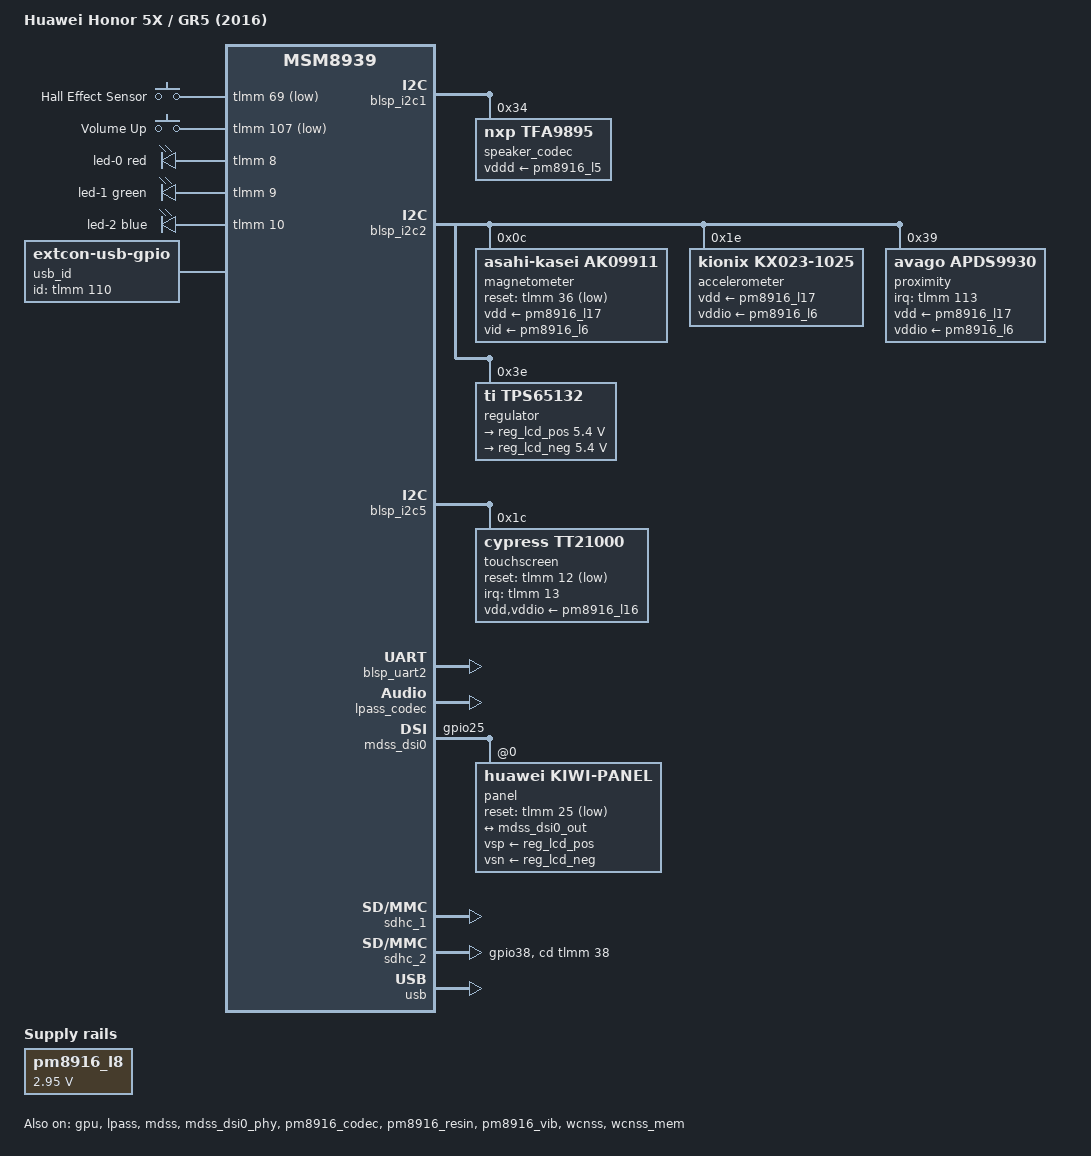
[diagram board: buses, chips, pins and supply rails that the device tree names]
// SPDX-License-Identifier: GPL-2.0-only

/dts-v1/;

#include "msm8939-pm8916.dtsi"
#include <dt-bindings/gpio/gpio.h>
#include <dt-bindings/leds/common.h>
#include <dt-bindings/sound/apq8016-lpass.h>

/ {
	model = "Huawei Honor 5X / GR5 (2016)";
	compatible = "huawei,kiwi", "qcom,msm8939";
	chassis-type = "handset";

	aliases {
		mmc0 = &sdhc_1; /* SDC1 eMMC slot */
		mmc1 = &sdhc_2; /* SDC2 SD card slot */
		serial0 = &blsp_uart2;
	};

	chosen {
		stdout-path = "serial0";
	};

	reserved-memory {
		qseecom_mem: qseecom@84a00000 {
			reg = <0x0 0x84a00000 0x0 0x1600000>;
			no-map;
		};
	};

	gpio-hall-sensor {
		compatible = "gpio-keys";

		pinctrl-0 = <&gpio_hall_sensor_default>;
		pinctrl-names = "default";

		label = "GPIO Hall Effect Sensor";

		event-hall-sensor {
			label = "Hall Effect Sensor";
			gpios = <&tlmm 69 GPIO_ACTIVE_LOW>;
			linux,input-type = <EV_SW>;
			linux,code = <SW_LID>;
			linux,can-disable;
		};
	};

	gpio-keys {
		compatible = "gpio-keys";

		pinctrl-0 = <&gpio_keys_default>;
		pinctrl-names = "default";

		label = "GPIO Buttons";

		button-volume-up {
			label = "Volume Up";
			gpios = <&tlmm 107 GPIO_ACTIVE_LOW>;
			linux,code = <KEY_VOLUMEUP>;
		};
	};

	gpio-leds {
		compatible = "gpio-leds";

		pinctrl-0 = <&gpio_leds_default>;
		pinctrl-names = "default";

		led-0 {
			gpios = <&tlmm 8 GPIO_ACTIVE_HIGH>;
			color = <LED_COLOR_ID_RED>;
			default-state = "off";
			function = LED_FUNCTION_INDICATOR;
			retain-state-suspended;
		};

		led-1 {
			gpios = <&tlmm 9 GPIO_ACTIVE_HIGH>;
			color = <LED_COLOR_ID_GREEN>;
			default-state = "off";
			function = LED_FUNCTION_INDICATOR;
			retain-state-suspended;
		};

		led-2 {
			gpios = <&tlmm 10 GPIO_ACTIVE_HIGH>;
			color = <LED_COLOR_ID_BLUE>;
			default-state = "off";
			function = LED_FUNCTION_INDICATOR;
			retain-state-suspended;
		};
	};

	usb_id: usb-id {
		compatible = "linux,extcon-usb-gpio";
		id-gpios = <&tlmm 110 GPIO_ACTIVE_HIGH>;
		pinctrl-0 = <&usb_id_default>;
		pinctrl-names = "default";
	};
};

&blsp_i2c1 {
	status = "okay";

	speaker_codec: audio-codec@34 {
		compatible = "nxp,tfa9895";
		reg = <0x34>;
		vddd-supply = <&pm8916_l5>;
		#sound-dai-cells = <0>;
	};
};

&blsp_i2c2 {
	status = "okay";

	magnetometer@c {
		compatible = "asahi-kasei,ak09911";
		reg = <0x0c>;
		vdd-supply = <&pm8916_l17>;
		vid-supply = <&pm8916_l6>;
		reset-gpios = <&tlmm 36 GPIO_ACTIVE_LOW>;
		pinctrl-0 = <&mag_reset_default>;
		pinctrl-names = "default";
	};

	accelerometer@1e {
		compatible = "kionix,kx023-1025";
		reg = <0x1e>;

		vdd-supply = <&pm8916_l17>;
		vddio-supply = <&pm8916_l6>;
		pinctrl-0 = <&accel_int_default>;
		pinctrl-names = "default";
		mount-matrix = "-1", "0", "0",
			       "0", "1", "0",
			       "0", "0", "1";
	};

	proximity@39 {
		compatible = "avago,apds9930";
		reg = <0x39>;

		interrupt-parent = <&tlmm>;
		interrupts = <113 IRQ_TYPE_EDGE_FALLING>;

		vdd-supply = <&pm8916_l17>;
		vddio-supply = <&pm8916_l6>;

		led-max-microamp = <25000>;
		amstaos,proximity-diodes = <0>;

		pinctrl-0 = <&prox_irq_default>;
		pinctrl-names = "default";
	};

	regulator@3e {
		compatible = "ti,tps65132";
		reg = <0x3e>;

		pinctrl-0 = <&reg_lcd_en_default>;
		pinctrl-names = "default";

		reg_lcd_pos: outp {
			regulator-name = "outp";
			regulator-min-microvolt = <5400000>;
			regulator-max-microvolt = <5400000>;
			enable-gpios = <&tlmm 97 GPIO_ACTIVE_HIGH>;
			regulator-active-discharge = <1>;
		};

		reg_lcd_neg: outn {
			regulator-name = "outn";
			regulator-min-microvolt = <5400000>;
			regulator-max-microvolt = <5400000>;
			enable-gpios = <&tlmm 32 GPIO_ACTIVE_HIGH>;
			regulator-active-discharge = <1>;
		};
	};
};

&blsp_i2c5 {
	status = "okay";

	touchscreen@1c {
		compatible = "cypress,tt21000";

		reg = <0x1c>;
		interrupt-parent = <&tlmm>;
		interrupts = <13 IRQ_TYPE_EDGE_FALLING>;

		reset-gpios = <&tlmm 12 GPIO_ACTIVE_LOW>;

		/*
		 * NOTE: vdd is not directly supplied by pm8916_l16, it seems to be a
		 * fixed regulator that is automatically enabled by pm8916_l16.
		 */
		vdd-supply = <&pm8916_l16>;
		vddio-supply = <&pm8916_l16>;

		pinctrl-0 = <&touchscreen_default>;
		pinctrl-names = "default";
	};
};

&blsp_uart2 {
	status = "okay";
};

&gpu {
	status = "okay";
};

&lpass {
	status = "okay";
};

&lpass_codec {
	status = "okay";
};

&mdss {
	status = "okay";
};

&mdss_dsi0 {
	pinctrl-0 = <&mdss_default>;
	pinctrl-1 = <&mdss_sleep>;
	pinctrl-names = "default", "sleep";
	status = "okay";

	panel@0 {
		compatible = "huawei,kiwi-panel";
		reg = <0>;

		vsp-supply = <&reg_lcd_pos>;
		vsn-supply = <&reg_lcd_neg>;
		reset-gpios = <&tlmm 25 GPIO_ACTIVE_LOW>;

		port {
			panel_in: endpoint {
				remote-endpoint = <&mdss_dsi0_out>;
			};
		};
	};
};

&mdss_dsi0_out {
	data-lanes = <0 1 2 3>;
	remote-endpoint = <&panel_in>;
};

&mdss_dsi0_phy {
	qcom,dsi-phy-regulator-ldo-mode;
	status = "okay";
};

&pm8916_codec {
	qcom,micbias-lvl = <2800>;
	qcom,mbhc-vthreshold-low = <75 150 237 450 500>;
	qcom,mbhc-vthreshold-high = <75 150 237 450 500>;
	qcom,micbias1-ext-cap;
	qcom,hphl-jack-type-normally-open;
	status = "okay";
};

&pm8916_l8 {
	regulator-min-microvolt = <2950000>;
	regulator-max-microvolt = <2950000>;
};

&pm8916_resin {
	linux,code = <KEY_VOLUMEDOWN>;
	status = "okay";
};

&pm8916_rpm_regulators {
	pm8916_l16: l16 {
		regulator-min-microvolt = <1800000>;
		regulator-max-microvolt = <1800000>;
	};

	pm8916_l17: l17 {
		regulator-min-microvolt = <2850000>;
		regulator-max-microvolt = <2850000>;
	};
};

&pm8916_vib {
	status = "okay";
};

&sdhc_1 {
	status = "okay";
};

&sdhc_2 {
	pinctrl-0 = <&sdc2_default &sdc2_cd_default>;
	pinctrl-1 = <&sdc2_sleep &sdc2_cd_default>;
	pinctrl-names = "default", "sleep";

	cd-gpios = <&tlmm 38 GPIO_ACTIVE_HIGH>;

	status = "okay";
};

&sound {
	model = "samsung-a2015";
	audio-routing =
		"AMIC1", "MIC BIAS External1",
		"AMIC2", "MIC BIAS Internal2",
		"AMIC3", "MIC BIAS External1";

	pinctrl-0 = <&cdc_pdm_default &sec_mi2s_default>;
	pinctrl-1 = <&cdc_pdm_sleep &sec_mi2s_sleep>;
	pinctrl-names = "default", "sleep";

	status = "okay";

	dai-link-primary {
		link-name = "Primary MI2S";
		cpu {
			sound-dai = <&lpass MI2S_PRIMARY>;
		};
		codec {
			sound-dai = <&lpass_codec 0>, <&pm8916_codec 0>;
		};
	};

	dai-link-tertiary {
		link-name = "Tertiary MI2S";
		cpu {
			sound-dai = <&lpass MI2S_TERTIARY>;
		};
		codec {
			sound-dai = <&lpass_codec 1>, <&pm8916_codec 1>;
		};
	};

	dai-link-quaternary {
		link-name = "Quaternary MI2S";

		cpu {
			sound-dai = <&lpass MI2S_QUATERNARY>;
		};
		codec {
			sound-dai = <&speaker_codec>;
		};
	};
};

&usb {
	extcon = <&usb_id>, <&usb_id>;
	status = "okay";
};

&usb_hs_phy {
	extcon = <&usb_id>;
};

&wcnss {
	status = "okay";
};

&wcnss_iris {
	compatible = "qcom,wcn3620";
};

&wcnss_mem {
	status = "okay";
};

&tlmm {
	accel_int_default: accel-int-default-state {
		pins = "gpio115";
		function = "gpio";
		drive-strength = <2>;
		bias-disable;
	};

	gpio_hall_sensor_default: gpio-hall-sensor-default-state {
		pins = "gpio69";
		function = "gpio";
		drive-strength = <2>;
		bias-disable;
	};

	gpio_keys_default: gpio-keys-default-state {
		pins = "gpio107";
		function = "gpio";
		drive-strength = <2>;
		bias-pull-up;
	};

	gpio_leds_default: gpio-leds-default-state {
		pins = "gpio8", "gpio9", "gpio10";
		function = "gpio";
		drive-strength = <2>;
		bias-disable;
	};

	mag_reset_default: mag-reset-default-state {
		pins = "gpio36";
		function = "gpio";
		drive-strength = <2>;
		bias-disable;
	};

	mdss_default: mdss-default-state {
		pins = "gpio25";
		function = "gpio";
		drive-strength = <8>;
		bias-disable;
	};

	mdss_sleep: mdss-sleep-state {
		pins = "gpio25";
		function = "gpio";
		drive-strength = <2>;
		bias-pull-down;
	};

	prox_irq_default: prox-irq-default-state {
		pins = "gpio113";
		function = "gpio";
		drive-strength = <2>;
		bias-disable;
	};

	reg_lcd_en_default: reg-lcd-en-default-state {
		pins = "gpio32", "gpio97";
		function = "gpio";
		drive-strength = <2>;
		bias-disable;
	};

	sdc2_cd_default: sdc2-cd-default-state {
		pins = "gpio38";
		function = "gpio";
		drive-strength = <2>;
		bias-disable;
	};

	touchscreen_default: touchscreen-default-state {
		pins = "gpio12", "gpio13";
		function = "gpio";
		drive-strength = <2>;
		bias-disable;
	};

	usb_id_default: usb-id-default-state {
		pins = "gpio110";
		function = "gpio";
		drive-strength = <8>;
		bias-pull-up;
	};
};
